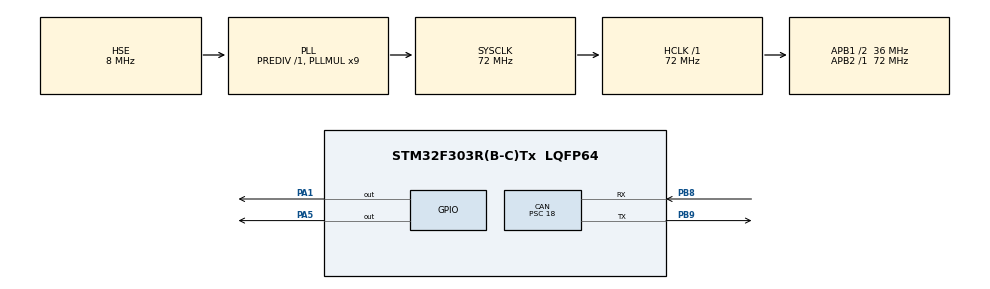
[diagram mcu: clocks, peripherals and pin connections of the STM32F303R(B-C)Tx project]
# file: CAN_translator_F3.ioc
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CAN.BS1=CAN_BS1_2TQ
CAN.CalculateBaudRate=500000
CAN.CalculateTimeBit=2000
CAN.CalculateTimeQuantum=500.0
CAN.Prescaler=18
Mcu.Family=STM32F3
Mcu.Name=STM32F303R(B-C)Tx
Mcu.Package=LQFP64
NVIC.CAN_RX1_IRQn=true\:0\:0\:false\:false\:true\:true\:true\:true
NVIC.CAN_SCE_IRQn=true\:0\:0\:false\:false\:true\:true\:true\:true
NVIC.PriorityGroup=NVIC_PRIORITYGROUP_4
PA1.Signal=GPIO_Output
PA5.Signal=GPIO_Output
PB8.Mode=CAN_Activate
PB8.Signal=CAN_RX
PB9.Mode=CAN_Activate
PB9.Signal=CAN_TX
PF0-OSC_IN.Mode=HSE-External-Oscillator
PF0-OSC_IN.Signal=RCC_OSC_IN
PF1-OSC_OUT.Mode=HSE-External-Oscillator
PF1-OSC_OUT.Signal=RCC_OSC_OUT
ProjectManager.HeapSize=0x200
ProjectManager.StackSize=0x400
ProjectManager.TargetToolchain=STM32CubeIDE
RCC.AHBFreq_Value=72000000
RCC.APB1CLKDivider=RCC_HCLK_DIV2
RCC.APB1Freq_Value=36000000
RCC.APB1TimFreq_Value=72000000
RCC.APB2Freq_Value=72000000
RCC.APB2TimFreq_Value=72000000
RCC.CortexFreq_Value=72000000
RCC.HCLKFreq_Value=72000000
RCC.HSE_VALUE=8000000
RCC.HSI_VALUE=8000000
RCC.LSE_VALUE=32768
RCC.PLLMUL=RCC_PLL_MUL9
RCC.PLLSourceVirtual=RCC_PLLSOURCE_HSE
RCC.SYSCLKFreq_VALUE=72000000
RCC.SYSCLKSourceVirtual=RCC_SYSCLKSOURCE_PLLCLK
RCC.USBFreq_Value=72000000
board=custom

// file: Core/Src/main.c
/* USER CODE BEGIN Header */
/**
  ******************************************************************************
  * @file           : main.c
  * @brief          : Main program body
  ******************************************************************************
  * @attention
  *
  * Copyright (c) 2025 STMicroelectronics.
  * All rights reserved.
  *
  * This software is licensed under terms that can be found in the LICENSE file
  * in the root directory of this software component.
  * If no LICENSE file comes with this software, it is provided AS-IS.
  *
  ******************************************************************************
  */
/* USER CODE END Header */
#include "main.h"

/* USER CODE BEGIN Includes */
#include "stm32f3xx_hal.h"
#include <string.h>
#include <stdbool.h>
/* USER CODE END Includes */

/* USER CODE BEGIN PD */

// Heinzmann CAN message IDs
#define HEINZ_VOLT_CURR_ID  0x1AF0FE11
#define HEINZ_CAPACITY_ID   0x1AF0FC11
#define HEINZ_STATUS_ID     0x1AF0FB11
#define HEINZ_TEMPS_ID      0x1AF0F111
#define HEINZ_ERROR_ID      0x1AF0EE11

// Sample fallback values
#define DEFAULT_SOC         100
#define DEFAULT_SOH         100
#define DEFAULT_FULL_CAP    10000  // in mAh
#define DEFAULT_CHARGE_CYCLES 0

// GPIO pin for user interaction (e.g. PA0 with pull-up)
#define START_BUTTON_PIN GPIO_PIN_0
#define START_BUTTON_PORT GPIOA
/* USER CODE END PD */

CAN_HandleTypeDef hcan;

/* USER CODE BEGIN PV */
CAN_RxHeaderTypeDef rxHeader;
CAN_TxHeaderTypeDef txHeader;
uint8_t rxData[8];
uint8_t txData[8];
uint32_t txMailbox;

// volatile bool system_started = false;
uint32_t last_voltage_send = 0;
uint32_t last_capacity_send = 0;
uint32_t last_status_send = 0;
uint32_t last_temp_send = 0;
uint32_t last_error_send = 0;

// Dynamic data from EMUS status messages
uint8_t emus_status_byte = 0x00;
uint32_t emus_max_discharge_mA = 0;
uint16_t emus_max_charge_mA = 0;
int16_t emus_avgTemp = 0;
int16_t emus_maxTemp = 0;
int16_t emus_minTemp = 0;
uint16_t emus_errorCode = 0;
uint8_t emus_soc = 100;
uint8_t emus_soh = 100;
uint16_t emus_remCap = 0;
uint16_t emus_fullCap = 0;
/* USER CODE END PV */

void SystemClock_Config(void);
static void MX_GPIO_Init(void);
static void MX_CAN_Init(void);
/* USER CODE BEGIN PFP */
void send_heinzmann_voltage_current(uint16_t packV, uint16_t termV, int16_t curr);
void send_heinzmann_status(uint8_t statusByte, uint32_t dischargeMax, uint16_t chargeMax);
void send_heinzmann_capacity(uint16_t remCap, uint8_t soc, uint8_t soh, uint16_t fullCap, uint16_t cycles);
void send_heinzmann_temperature(int16_t avgTemp, int16_t maxTemp, int16_t minTemp);
void send_heinzmann_error(uint16_t errorCode);

void HAL_CAN_RxFifo1MsgPendingCallback(CAN_HandleTypeDef *hcan);
void safe_CAN_send(CAN_TxHeaderTypeDef* header, uint8_t* data);

void send_raw_echo_response(uint8_t *data, uint8_t length);
/* USER CODE END PFP */

int main(void)
{

  /* MCU Configuration--------------------------------------------------------*/

  /* Reset of all peripherals, Initializes the Flash interface and the Systick. */
  HAL_Init();

  /* Configure the system clock */
  SystemClock_Config();

  /* Initialize all configured peripherals */
  MX_GPIO_Init();
  MX_CAN_Init();
  /* USER CODE BEGIN 2 */
  HAL_CAN_Start(&hcan);
  HAL_CAN_ActivateNotification(&hcan, CAN_IT_RX_FIFO1_MSG_PENDING);
  /* USER CODE END 2 */

  /* Infinite loop */
  /* USER CODE BEGIN WHILE */
  while(1)
  {
//	  HAL_GPIO_TogglePin(GPIOA, GPIO_PIN_1); // toggle PA1
//	  HAL_Delay(500);                        // 500ms delay

//	  if (!system_started)
//	  {
//		  if (HAL_GPIO_ReadPin(START_BUTTON_PORT, START_BUTTON_PIN) == GPIO_PIN_RESET)
//		  {
//			  system_started = true;
//		  }
//	  }
    /* USER CODE END WHILE */

  }
}

void SystemClock_Config(void)
{
  RCC_OscInitTypeDef RCC_OscInitStruct = {0};
  RCC_ClkInitTypeDef RCC_ClkInitStruct = {0};

  /** Initializes the RCC Oscillators according to the specified parameters
  * in the RCC_OscInitTypeDef structure.
  */
  RCC_OscInitStruct.OscillatorType = RCC_OSCILLATORTYPE_HSE;
  RCC_OscInitStruct.HSEState = RCC_HSE_ON;
  RCC_OscInitStruct.HSEPredivValue = RCC_HSE_PREDIV_DIV1;
  RCC_OscInitStruct.HSIState = RCC_HSI_ON;
  RCC_OscInitStruct.PLL.PLLState = RCC_PLL_ON;
  RCC_OscInitStruct.PLL.PLLSource = RCC_PLLSOURCE_HSE;
  RCC_OscInitStruct.PLL.PLLMUL = RCC_PLL_MUL9;
  if (HAL_RCC_OscConfig(&RCC_OscInitStruct) != HAL_OK)
  {
    Error_Handler();
  }

  /** Initializes the CPU, AHB and APB buses clocks
  */
  RCC_ClkInitStruct.ClockType = RCC_CLOCKTYPE_HCLK|RCC_CLOCKTYPE_SYSCLK
                              |RCC_CLOCKTYPE_PCLK1|RCC_CLOCKTYPE_PCLK2;
  RCC_ClkInitStruct.SYSCLKSource = RCC_SYSCLKSOURCE_PLLCLK;
  RCC_ClkInitStruct.AHBCLKDivider = RCC_SYSCLK_DIV1;
  RCC_ClkInitStruct.APB1CLKDivider = RCC_HCLK_DIV2;
  RCC_ClkInitStruct.APB2CLKDivider = RCC_HCLK_DIV1;

  if (HAL_RCC_ClockConfig(&RCC_ClkInitStruct, FLASH_LATENCY_2) != HAL_OK)
  {
    Error_Handler();
  }
}

static void MX_CAN_Init(void)
{

  hcan.Instance = CAN;
  hcan.Init.Prescaler = 18;
  hcan.Init.Mode = CAN_MODE_NORMAL;
  hcan.Init.SyncJumpWidth = CAN_SJW_1TQ;
  hcan.Init.TimeSeg1 = CAN_BS1_2TQ;
  hcan.Init.TimeSeg2 = CAN_BS2_1TQ;
  hcan.Init.TimeTriggeredMode = DISABLE;
  hcan.Init.AutoBusOff = DISABLE;
  hcan.Init.AutoWakeUp = DISABLE;
  hcan.Init.AutoRetransmission = DISABLE;
  hcan.Init.ReceiveFifoLocked = DISABLE;
  hcan.Init.TransmitFifoPriority = DISABLE;
  if (HAL_CAN_Init(&hcan) != HAL_OK)
  {
    Error_Handler();
  }
  /* USER CODE BEGIN CAN_Init 2 */
  CAN_FilterTypeDef canfilterconfig;

       canfilterconfig.FilterActivation = CAN_FILTER_ENABLE;
       canfilterconfig.FilterBank = 10;  // anything between 0 to SlaveStartFilterBank
       canfilterconfig.FilterFIFOAssignment = CAN_RX_FIFO1;
       canfilterconfig.FilterIdHigh = 0x0000;
       canfilterconfig.FilterIdLow = 0x0000;
       canfilterconfig.FilterMaskIdHigh = 0x0000;
       canfilterconfig.FilterMaskIdLow = 0x0000;
       canfilterconfig.FilterMode = CAN_FILTERMODE_IDMASK;
       canfilterconfig.FilterScale = CAN_FILTERSCALE_32BIT;

       HAL_CAN_ConfigFilter(&hcan, &canfilterconfig);
  /* USER CODE END CAN_Init 2 */

}

static void MX_GPIO_Init(void)
{
  GPIO_InitTypeDef GPIO_InitStruct = {0};

  /* GPIO Ports Clock Enable */
  __HAL_RCC_GPIOF_CLK_ENABLE();
  __HAL_RCC_GPIOA_CLK_ENABLE();
  __HAL_RCC_GPIOB_CLK_ENABLE();

  /*Configure GPIO pin Output Level */
  HAL_GPIO_WritePin(GPIOA, GPIO_PIN_1|GPIO_PIN_5, GPIO_PIN_RESET);

  /*Configure GPIO pins : PA1 PA5 */
  GPIO_InitStruct.Pin = GPIO_PIN_1|GPIO_PIN_5;
  GPIO_InitStruct.Mode = GPIO_MODE_OUTPUT_PP;
  GPIO_InitStruct.Pull = GPIO_NOPULL;
  GPIO_InitStruct.Speed = GPIO_SPEED_FREQ_LOW;
  HAL_GPIO_Init(GPIOA, &GPIO_InitStruct);

}

/* USER CODE BEGIN 4 */

void send_heinzmann_voltage_current(uint16_t packV, uint16_t termV, int16_t curr)
{
    txHeader.IDE = CAN_ID_EXT;
    txHeader.ExtId = HEINZ_VOLT_CURR_ID;
    txHeader.RTR = CAN_RTR_DATA;
    txHeader.DLC = 6;

    txData[0] = packV & 0xFF;
    txData[1] = (packV >> 8) & 0xFF;
    txData[2] = termV & 0xFF;
    txData[3] = (termV >> 8) & 0xFF;
    txData[4] = curr & 0xFF;
    txData[5] = (curr >> 8) & 0xFF;

    safe_CAN_send(&txHeader, txData);
//    HAL_StatusTypeDef txStatus = HAL_CAN_AddTxMessage(&hcan, &txHeader, txData, &txMailbox);
//    if (txStatus != HAL_OK) {
//        // Transmission failed — turn ON LED
//        HAL_GPIO_WritePin(GPIOA, GPIO_PIN_1, GPIO_PIN_SET);
//    }
//    HAL_CAN_AddTxMessage(&hcan, &txHeader, txData, &txMailbox);
}

void send_heinzmann_capacity(uint16_t remCap, uint8_t soc, uint8_t soh, uint16_t fullCap, uint16_t cycles)
{
    txHeader.IDE = CAN_ID_EXT;
    txHeader.RTR = CAN_RTR_DATA;
    txHeader.ExtId = HEINZ_CAPACITY_ID;
    txHeader.DLC = 8;

    txData[0] = remCap & 0xFF;
    txData[1] = (remCap >> 8) & 0xFF;
    txData[2] = soc;
    txData[3] = soh;
    txData[4] = fullCap & 0xFF;
    txData[5] = (fullCap >> 8) & 0xFF;
    txData[6] = cycles & 0xFF;
    txData[7] = (cycles >> 8) & 0xFF;

    safe_CAN_send(&txHeader, txData);
//    HAL_StatusTypeDef txStatus = HAL_CAN_AddTxMessage(&hcan, &txHeader, txData, &txMailbox);
//    if (txStatus != HAL_OK) {
//        // Transmission failed — turn ON LED
//        HAL_GPIO_WritePin(GPIOA, GPIO_PIN_1, GPIO_PIN_SET);
//    }
//    HAL_CAN_AddTxMessage(&hcan, &txHeader, txData, &txMailbox);
}

void send_heinzmann_status(uint8_t statusByte, uint32_t dischargeMax, uint16_t chargeMax)
{
    txHeader.IDE = CAN_ID_EXT;
    txHeader.RTR = CAN_RTR_DATA;
    txHeader.ExtId = HEINZ_STATUS_ID;
    txHeader.DLC = 8;

    txData[0] = statusByte;
    txData[1] = 0x00;
    txData[2] = dischargeMax & 0xFF;
    txData[3] = (dischargeMax >> 8) & 0xFF;
    txData[4] = (dischargeMax >> 16) & 0xFF;
    txData[5] = (dischargeMax >> 24) & 0xFF;
    txData[6] = chargeMax & 0xFF;
    txData[7] = (chargeMax >> 8) & 0xFF;

    safe_CAN_send(&txHeader, txData);
//    HAL_StatusTypeDef txStatus = HAL_CAN_AddTxMessage(&hcan, &txHeader, txData, &txMailbox);
//    if (txStatus != HAL_OK) {
//        // Transmission failed — turn ON LED
//        HAL_GPIO_WritePin(GPIOA, GPIO_PIN_1, GPIO_PIN_SET);
//    }
//    HAL_CAN_AddTxMessage(&hcan, &txHeader, txData, &txMailbox);
}

void send_heinzmann_temperature(int16_t avgTemp, int16_t maxTemp, int16_t minTemp)
{
    txHeader.IDE = CAN_ID_EXT;
    txHeader.RTR = CAN_RTR_DATA;
    txHeader.ExtId = HEINZ_TEMPS_ID;
    txHeader.DLC = 8;

    txData[0] = avgTemp & 0xFF;
    txData[1] = (avgTemp >> 8) & 0xFF;
    txData[2] = maxTemp & 0xFF;
    txData[3] = (maxTemp >> 8) & 0xFF;
    txData[4] = minTemp & 0xFF;
    txData[5] = (minTemp >> 8) & 0xFF;
    txData[6] = 0x00;
    txData[7] = 0x00;

    safe_CAN_send(&txHeader, txData);
//    HAL_StatusTypeDef txStatus = HAL_CAN_AddTxMessage(&hcan, &txHeader, txData, &txMailbox);
//    if (txStatus != HAL_OK) {
//    	// Transmission failed — turn ON LED
//    	HAL_GPIO_WritePin(GPIOA, GPIO_PIN_1, GPIO_PIN_SET);
//    }
}

void send_heinzmann_error(uint16_t errorCode)
{
    txHeader.IDE = CAN_ID_EXT;
    txHeader.RTR = CAN_RTR_DATA;
    txHeader.ExtId = HEINZ_ERROR_ID;
    txHeader.DLC = 8;

    txData[0] = errorCode & 0xFF;
    txData[1] = (errorCode >> 8) & 0xFF;
    txData[2] = 0x00;
    txData[3] = 0x00;
    txData[4] = 0x00;
    txData[5] = 0x00;
    txData[6] = 0x00;
    txData[7] = 0x00;

    safe_CAN_send(&txHeader, txData);
//    HAL_StatusTypeDef txStatus = HAL_CAN_AddTxMessage(&hcan, &txHeader, txData, &txMailbox);
//    if (txStatus != HAL_OK) {
//    	// Transmission failed — turn ON LED
//    	HAL_GPIO_WritePin(GPIOA, GPIO_PIN_1, GPIO_PIN_SET);
//    }
}

void HAL_CAN_RxFifo1MsgPendingCallback(CAN_HandleTypeDef *hcan) {
    HAL_CAN_GetRxMessage(hcan, CAN_RX_FIFO1, &rxHeader, rxData);
    HAL_GPIO_TogglePin(GPIOA, GPIO_PIN_5);
    uint32_t now = HAL_GetTick();

    if (rxHeader.IDE == CAN_ID_STD) {
        switch (rxHeader.StdId) {
            case 0x180:
            {
                uint16_t voltage = (rxData[1] << 8) | rxData[0];
                int16_t current = (int16_t)((rxData[3] << 8) | rxData[2]);
                if ((int32_t)(now - last_voltage_send) >= 10) {
                    send_heinzmann_voltage_current(voltage * 10, voltage * 10, current * 10);
                    last_voltage_send = now;
                }
                break;
            }

            case 0x186:
                emus_max_discharge_mA = ((rxData[5] << 8) | rxData[4]) * 100;
                emus_max_charge_mA = ((rxData[7] << 8) | rxData[6]) * 100;
                break;

            case 0x187:
                emus_remCap = (rxData[1] << 8) | rxData[0];
                emus_soc = rxData[2];
                emus_soh = rxData[3];
                emus_fullCap = (rxData[5] << 8) | rxData[4];
                if ((int32_t)(now - last_capacity_send) >= 100) {
                    send_heinzmann_capacity(emus_remCap, emus_soc, emus_soh, emus_fullCap, 0);
                    last_capacity_send = now;
                }
                break;

            case 0x188:
                emus_avgTemp = (int16_t)((rxData[1] << 8) | rxData[0]);
                emus_maxTemp = (int16_t)((rxData[3] << 8) | rxData[2]);
                emus_minTemp = (int16_t)((rxData[5] << 8) | rxData[4]);
                if ((int32_t)(now - last_temp_send) >= 100) {
                    send_heinzmann_temperature(emus_avgTemp, emus_maxTemp, emus_minTemp);
                    last_temp_send = now;
                }
                break;

            case 0x181:
                emus_status_byte = rxData[0];
                if ((int32_t)(now - last_status_send) >= 100) {
                    send_heinzmann_status(emus_status_byte, emus_max_discharge_mA, emus_max_charge_mA);
                    last_status_send = now;
                }
                break;

            case 0x18A:
                emus_errorCode = (rxData[1] << 8) | rxData[0];
                if ((int32_t)(now - last_error_send) >= 100) {
                    send_heinzmann_error(emus_errorCode);
                    last_error_send = now;
                }
                break;

            default:
                break;
        }
    }
}

//void HAL_CAN_RxFifo1MsgPendingCallback(CAN_HandleTypeDef *hcan)
//{
//    HAL_CAN_GetRxMessage(hcan, CAN_RX_FIFO1, &rxHeader, rxData);
//    HAL_GPIO_TogglePin(GPIOA, GPIO_PIN_5);
//
////    if (!system_started) return;
//
//    uint32_t now = HAL_GetTick();
//
//    if (rxHeader.IDE == CAN_ID_STD && rxHeader.StdId == emusBaseID) {
//
//        uint16_t emusVoltage = (rxData[1] << 8) | rxData[0]; // 0.01V
//        uint16_t emusCurrent = (rxData[3] << 8) | rxData[2]; // 0.1A
//
//        uint16_t packV = emusVoltage * 10;   // → 0.001V
//        int16_t curr = (int16_t)(emusCurrent * 10);  // → 0.01A
//
////        emus_avgTemp = (int16_t)((rxData[1] << 8) | rxData[0]);
////        emus_maxTemp = (int16_t)((rxData[3] << 8) | rxData[2]);
////        emus_minTemp = (int16_t)((rxData[5] << 8) | rxData[4]);
//
//        if (now - last_voltage_send >= 10)
//        {
//        	send_heinzmann_voltage_current(packV, packV, curr);
//        	last_voltage_send = now;
//        }
//
//        if (now - last_capacity_send >= 100)
//        {
//        	send_heinzmann_capacity(10000, DEFAULT_SOC, DEFAULT_SOH, DEFAULT_FULL_CAP, DEFAULT_CHARGE_CYCLES);
//        	last_capacity_send = now;
//        }
//
//        if (now - last_status_send >= 100) {
//            send_heinzmann_status(emus_status_byte, emus_max_discharge_mA, emus_max_charge_mA);
//            last_status_send = now;
//        }
//
////        if (now - last_temp_send >= 100) {
////            send_heinzmann_temperature(emus_avgTemp, emus_maxTemp, emus_minTemp);
////            last_temp_send = now;
////        }
//
//        if (now - last_error_send >= 100) {
//            send_heinzmann_error(emus_errorCode);
//            last_error_send = now;
//        }
//
//    	// For debugging purposes
////        send_raw_echo_response(rxData, rxHeader.DLC);
//    }
//
//    if (rxHeader.IDE == CAN_ID_EXT && rxHeader.ExtId == 0x18FF51E5) {
//        emus_status_byte = rxData[0];
//    }
//
//    if (rxHeader.IDE == CAN_ID_EXT && rxHeader.ExtId == 0x18FF50E5) {
//        uint16_t maxDischarge = (rxData[5] << 8) | rxData[4];
//        uint16_t maxCharge = (rxData[7] << 8) | rxData[6];
//
//        emus_max_discharge_mA = maxDischarge * 100;
//        emus_max_charge_mA = maxCharge * 100;
//    }
//
//    if (rxHeader.IDE == CAN_ID_STD && rxHeader.StdId == (emusBaseID + 8))
//    {
//    	emus_avgTemp = (int16_t)((rxData[1] << 8) | rxData[0]);
//    	emus_maxTemp = (int16_t)((rxData[3] << 8) | rxData[2]);
//    	emus_minTemp = (int16_t)((rxData[5] << 8) | rxData[4]);
//
//    	if ((int32_t)(now - last_temp_send) >= 100)
//    	{
//    		send_heinzmann_temperature(emus_avgTemp, emus_maxTemp, emus_minTemp);
//    		last_temp_send = now;
//    	}
//    }
//
//    if (rxHeader.IDE == CAN_ID_EXT && rxHeader.ExtId == 0x18FF53E5) {
//        emus_errorCode = (rxData[1] << 8) | rxData[0];
//    }
//}

void safe_CAN_send(CAN_TxHeaderTypeDef* header, uint8_t* data)
{
    HAL_StatusTypeDef result;
    uint32_t timeout = HAL_GetTick() + 10;  // 10 ms timeout window

    // Wait for at least one free mailbox
    while (HAL_CAN_GetTxMailboxesFreeLevel(&hcan) == 0)
    {
        if (HAL_GetTick() > timeout)
        {
            HAL_GPIO_WritePin(GPIOA, GPIO_PIN_1, GPIO_PIN_SET); // indicate mailbox congestion
            return;
        }
    }

    // Attempt to send
    result = HAL_CAN_AddTxMessage(&hcan, header, data, &txMailbox);
    if (result != HAL_OK)
    {
        // Transmission failed for other reasons
        HAL_GPIO_WritePin(GPIOA, GPIO_PIN_1, GPIO_PIN_SET);
    }
}
//void safe_CAN_send(CAN_TxHeaderTypeDef* header, uint8_t* data)
//{
//    if (HAL_CAN_GetTxMailboxesFreeLevel(&hcan) > 0)
//    {
//        HAL_CAN_AddTxMessage(&hcan, header, data, &txMailbox);
//    }
//    else
//    {
//        HAL_GPIO_WritePin(GPIOA, GPIO_PIN_1, GPIO_PIN_SET);
//    }
//}

// This function is only for debugging the CAN bus
void send_raw_echo_response(uint8_t *data, uint8_t length)
{
	 txHeader.IDE = CAN_ID_EXT;
	 txHeader.ExtId = 0x1AF0F000;  // Dummy test ID (can change)
	 txHeader.RTR = CAN_RTR_DATA;
	 txHeader.DLC = length;

	 // Copy rxData to txData
	 for (uint8_t i = 0; i < length; i++)
	 {
		 txData[i] = data[i];
	 }

	 if (HAL_CAN_AddTxMessage(&hcan, &txHeader, txData, &txMailbox) != HAL_OK)
	 {
		 Error_Handler();  // or toggle LED to show error
	 }
}

/* USER CODE END 4 */

void Error_Handler(void)
{
  __disable_irq();
  while (1)
  {
  }
}
